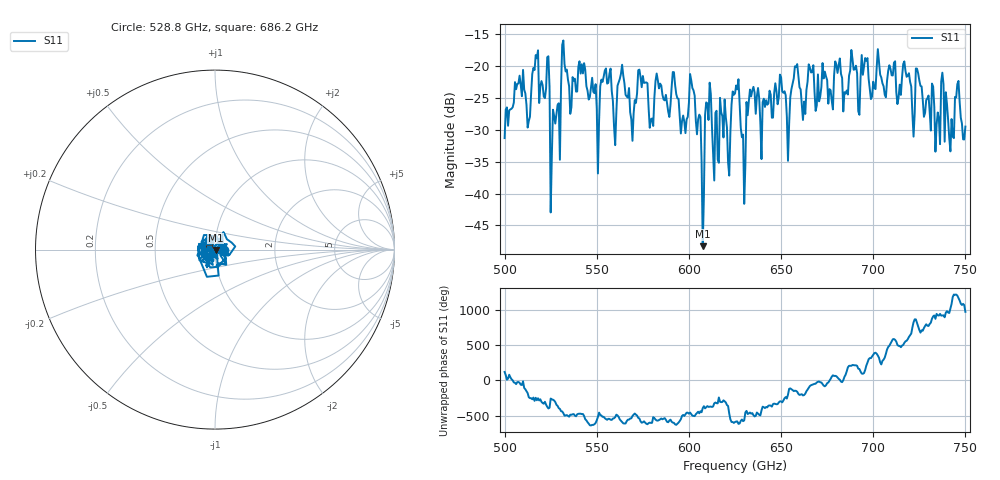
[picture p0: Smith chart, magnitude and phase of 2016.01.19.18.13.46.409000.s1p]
!Created with skrf (http://scikit-rf.org).
# GHz S RI R 50.0
!freq ReS11 ImS11
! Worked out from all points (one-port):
!   401 points, 500 GHz to 750 GHz, reference 50 ohm
!   lowest |S11| = -48.3 dB at 607.5 GHz (marker M1), VSWR 1.01, Z = 50.3 - j0.222 ohm
!   |S11| at or under -10 dB: start of sweep to end of sweep
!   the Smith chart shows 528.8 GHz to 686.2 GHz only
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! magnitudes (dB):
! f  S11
! 500 GHz  -31.3
! 506.9 GHz  -22.8
! 513.1 GHz  -28.6
! 516.9 GHz  -18.3
! 523.1 GHz  -18.6
! 526.2 GHz  -26.9
! 531.2 GHz  -16.7
! 541.9 GHz  -19.8
! 550 GHz  -26.7
! 562.5 GHz  -22.0
! 569.4 GHz  -31.7
! 573.8 GHz  -21.8
! 579.4 GHz  -28.4
! 583.1 GHz  -22.2
! 593.8 GHz  -25.1
! 601.9 GHz  -23.5
! 607.5 GHz  -48.3
! 610.6 GHz  -28.5
! 621.2 GHz  -35.2
! 625 GHz  -24.3
! 629.4 GHz  -30.8
! 634.4 GHz  -23.9
! 653.8 GHz  -34.9
! 656.2 GHz  -22.8
! 687.5 GHz  -20.7
! 718.8 GHz  -21.5
! 745.6 GHz  -22.9
! 750 GHz  -29.5
